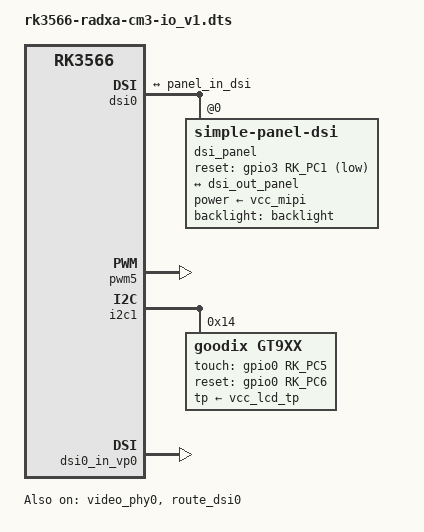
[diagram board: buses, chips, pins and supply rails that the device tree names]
vcc_mipi: vcc-mipi {            //MIPI供电控制MOS   
        status = "okay";
        compatible = "regulator-fixed";
        regulator-name = "vcc_mipi";
        regulator-min-microvolt = <3300000>;
        regulator-max-microvolt = <3300000>;
        pinctrl-names = "default";
        pinctrl-0 = <&vcc_mipi_pin>;
        gpio = <&gpio1 RK_PD5 GPIO_ACTIVE_HIGH>;
        enable-active-high;
        regulator-always-on;
        regulator-state-mem {
            regulator-off-in-suspend;
        };
    };
vcc_lcd_tp: vcc-lcd-tp {
        status = "okay";
        compatible = "regulator-fixed";
        regulator-name = "vcc_lcd_tp";
        regulator-min-microvolt = <3300000>;
        regulator-max-microvolt = <3300000>;
        pinctrl-names = "default";
        pinctrl-0 = <&vcc_tp_pin>;
        gpio = <&gpio3 RK_PD0 GPIO_ACTIVE_LOW>;
        regulator-always-on;
        regulator-state-mem {
            regulator-off-in-suspend;
        };
    };

&dsi0 {
    status = "okay";
    //rockchip,lane-rate = <480>;   屏蔽MIPI速率，驱动会自行计算
    #address-cells = <1>;
    #size-cells = <0>;

    dsi_panel: panel@0 {
        status = "okay";
        compatible = "simple-panel-dsi";
        reg = <0>;
        backlight = <&backlight>;
        power-supply = <&vcc_mipi>;
        reset-gpios = <&gpio3 RK_PC1 GPIO_ACTIVE_LOW>;
        pinctrl-names = "default";
        pinctrl-0 = <&dsi0_lcd_rst_gpio>;
        rotation = <90>;
        
        prepare-delay-ms = <20>;
        reset-delay-ms = <5>;
        init-delay-ms = <5>;
        enable-delay-ms = <120>;
        
        unprepare-delay-ms = <120>;
        disable-delay-ms = <50>;

        //  94.2mm       150.72mm
        width-mm = <94>;
        height-mm = <150>;
        dsi,flags = <(MIPI_DSI_MODE_VIDEO | MIPI_DSI_MODE_VIDEO_BURST | MIPI_DSI_MODE_LPM | MIPI_DSI_MODE_EOT_PACKET)>;
        dsi,format = <MIPI_DSI_FMT_RGB888>;
        dsi,lanes  = <4>;
        panel-init-sequence = [
            39 00 04 FF 98 81 03
            15 00 02 01 00
            15 00 02 02 00
            15 00 02 03 73
            15 00 02 04 13
            15 00 02 05 00
            15 00 02 06 0A
            15 00 02 07 05
            15 00 02 08 00
            15 00 02 09 28
            15 00 02 0A 00
            15 00 02 0B 00
            15 00 02 0C 00
            15 00 02 0D 28
            15 00 02 0E 00
            15 00 02 0F 28
            15 00 02 10 28
            15 00 02 11 00
            15 00 02 12 00
            15 00 02 13 00
            15 00 02 14 00
            15 00 02 15 00
            15 00 02 16 00
            15 00 02 17 00
            15 00 02 18 00
            15 00 02 19 00
            15 00 02 1A 00
            15 00 02 1B 00
            15 00 02 1C 00
            15 00 02 1D 00
            15 00 02 1E 40
            15 00 02 1F 80
            15 00 02 20 06
            15 00 02 21 01
            15 00 02 22 00
            15 00 02 23 00
            15 00 02 24 00
            15 00 02 25 00
            15 00 02 26 00
            15 00 02 27 00
            15 00 02 28 33
            15 00 02 29 33
            15 00 02 2A 00
            15 00 02 2B 00
            15 00 02 2C 04
            15 00 02 2D 04
            15 00 02 2E 05
            15 00 02 2F 05
            15 00 02 30 00
            15 00 02 31 00
            15 00 02 32 31
            15 00 02 33 00
            15 00 02 34 00
            15 00 02 35 0A
            15 00 02 36 00
            15 00 02 37 08
            15 00 02 38 00
            15 00 02 39 00
            15 00 02 3A 00
            15 00 02 3B 00
            15 00 02 3C 00
            15 00 02 3D 00
            15 00 02 3E 00
            15 00 02 3F 00
            15 00 02 40 00
            15 00 02 41 00
            15 00 02 42 00
            15 00 02 43 08
            15 00 02 44 00
            15 00 02 50 01
            15 00 02 51 23
            15 00 02 52 44
            15 00 02 53 67
            15 00 02 54 89
            15 00 02 55 AB
            15 00 02 56 01
            15 00 02 57 23
            15 00 02 58 45
            15 00 02 59 67
            15 00 02 5A 89
            15 00 02 5B AB
            15 00 02 5C CD
            15 00 02 5D EF
            15 00 02 5E 11
            15 00 02 5F 02
            15 00 02 60 08
            15 00 02 61 0E
            15 00 02 62 0F
            15 00 02 63 0C
            15 00 02 64 0D
            15 00 02 65 17
            15 00 02 66 01
            15 00 02 67 01
            15 00 02 68 02
            15 00 02 69 02
            15 00 02 6A 00
            15 00 02 6B 00
            15 00 02 6C 02
            15 00 02 6D 02
            15 00 02 6E 16
            15 00 02 6F 16
            15 00 02 70 06
            15 00 02 71 06
            15 00 02 72 07
            15 00 02 73 07
            15 00 02 74 02
            15 00 02 75 02
            15 00 02 76 08
            15 00 02 77 0E
            15 00 02 78 0F
            15 00 02 79 0C
            15 00 02 7A 0D
            15 00 02 7B 17
            15 00 02 7C 01
            15 00 02 7D 01
            15 00 02 7E 02
            15 00 02 7F 02
            15 00 02 80 00
            15 00 02 81 00
            15 00 02 82 02
            15 00 02 83 02
            15 00 02 84 16
            15 00 02 85 16
            15 00 02 86 06
            15 00 02 87 06
            15 00 02 88 07
            15 00 02 89 07
            15 00 02 8A 02
            39 00 04 FF 98 81 04
            15 00 02 6E 1A
            15 00 02 6F 37
            15 00 02 3A A4
            15 00 02 8D 1F
            15 00 02 87 BA
            15 00 02 B2 D1
            15 00 02 88 0B
            15 00 02 38 01
            15 00 02 39 00
            15 00 02 B5 02
            15 00 02 31 25
            15 00 02 3B 98
            39 00 04 FF 98 81 01
            15 00 02 22 0A
            15 00 02 31 00
            15 00 02 53 53
            15 00 02 55 3D
            15 00 02 50 9E
            15 00 02 51 99
            15 00 02 60 06
            15 00 02 62 20
            15 00 02 A0 00
            15 00 02 A1 17
            15 00 02 A2 26
            15 00 02 A3 13
            15 00 02 A4 16
            15 00 02 A5 29
            15 00 02 A6 1E
            15 00 02 A7 1F
            15 00 02 A8 8B
            15 00 02 A9 1D
            15 00 02 AA 2A
            15 00 02 AB 7B
            15 00 02 AC 1A
            15 00 02 AD 19
            15 00 02 AE 4E
            15 00 02 AF 24
            15 00 02 B0 29
            15 00 02 B1 4F
            15 00 02 B2 5C
            15 00 02 B3 3E
            15 00 02 C0 00
            15 00 02 C1 17
            15 00 02 C2 26
            15 00 02 C3 13
            15 00 02 C4 16
            15 00 02 C5 29
            15 00 02 C6 1E
            15 00 02 C7 1F
            15 00 02 C8 8B
            15 00 02 C9 1D
            15 00 02 CA 2A
            15 00 02 CB 7B
            15 00 02 CC 1A
            15 00 02 CD 19
            15 00 02 CE 4E
            15 00 02 CF 24
            15 00 02 D0 29
            15 00 02 D1 4F
            15 00 02 D2 5C
            15 00 02 D3 3E
            39 00 04 FF 98 81 00
            15 78 02 11 00
            15 00 02 29 00
            15 00 02 35 00
        ];

        panel-exit-sequence = [
            05 00 01 28
            05 00 01 10
        ];

        disp_timings0: display-timings {
            native-mode = <&dsi0_timing0>;
            dsi0_timing0: timing0 {
                clock-frequency = <67300000>;       //PCLK=(VS+VFP+VBP+Vactive)(HS+HFP+HBP+Hactive)*fps 67329360
                hactive = <800>;
                vactive = <1280>;
                hsync-len = <18>;
                hback-porch = <18>;
                hfront-porch = <18>;
                vsync-len = <4>;
                vback-porch = <10>;
                vfront-porch = <20>;
                hsync-active = <0>;
                vsync-active = <0>;
                de-active = <0>;
                pixelclk-active = <1>;          //像素时钟极性控制
            };
        };

        ports {
            #address-cells = <1>;
            #size-cells = <0>;
            port@0 {
                reg = <0>;
                panel_in_dsi: endpoint {
                    remote-endpoint = <&dsi_out_panel>;
                };
            };
        };
    };

    ports {
        #address-cells = <1>;
        #size-cells = <0>;

        port@1 {
            reg = <1>;
            dsi_out_panel: endpoint {
                remote-endpoint = <&panel_in_dsi>;
            };
        };
    };
};

&pwm5 {
    status = "okay";                
};
backlight: backlight {
        status = "okay";
        compatible = "pwm-backlight";
        pinctrl-names = "default";
        pinctrl-0 = <&dsi0_backlight_en>;
        pwms = <&pwm5 0 50000 PWM_POLARITY_INVERTED>;       //GPIO0_C4  PWM5
        enable-gpios = <&gpio4 RK_PB3 0>;           //背光MOS控制
        post-pwm-on-delay-ms = <10>;            //开启控制延时
        pwm-off-delay-ms = <10>;                //关闭控制延时
        brightness-levels = <
                0  20  20  21  21  22  22  23
                23  24  24  25  25  26  26  27
                27  28  28  29  29  30  30  31
                31  32  32  33  33  34  34  35
                35  36  36  37  37  38  38  39
                40  41  42  43  44  45  46  47
                48  49  50  51  52  53  54  55
                56  57  58  59  60  61  62  63
                64  65  66  67  68  69  70  71
                72  73  74  75  76  77  78  79
                80  81  82  83  84  85  86  87
                88  89  90  91  92  93  94  95
                96  97  98  99 100 101 102 103
            104 105 106 107 108 109 110 111
            112 113 114 115 116 117 118 119
            120 121 122 123 124 125 126 127
            128 129 130 131 132 133 134 135
            136 137 138 139 140 141 142 143
            144 145 146 147 148 149 150 151
            152 153 154 155 156 157 158 159
            160 161 162 163 164 165 166 167
            168 169 170 171 172 173 174 175
            176 177 178 179 180 181 182 183
            184 185 186 187 188 189 190 191
            192 193 194 195 196 197 198 199
            200 201 202 203 204 205 206 207
            208 209 210 211 212 213 214 215
            216 217 218 219 220 221 222 223
            224 225 226 227 228 229 230 231
            232 233 234 235 236 237 238 239
            240 241 242 243 244 245 246 247
            248 249 250 251 252 253 254 255
        >;
        default-brightness-level = <200>;       //默认亮度200，越小越亮
    };

&i2c1 {
    status = "okay";
    pinctrl-0 = <&i2c1_xfer>;           //I2C1
    #address-cells = <1>;
    #size-cells = <0>;

    gt9xx: gt9xx@14 {
        status = "okay";
        compatible = "goodix,gt9xx";
        reg = <0x14>;
        pinctrl-names = "default";
        pinctrl-0 = <&gt9xx_gpio>;
        touch-gpio = <&gpio0 RK_PC5 IRQ_TYPE_LEVEL_HIGH>;
        reset-gpio = <&gpio0 RK_PC6 GPIO_ACTIVE_HIGH>;
        max-x = <1280>;
        max-y = <800>;
        tp-size = <9112>;
        tp-supply = <&vcc_lcd_tp>;
    };
};

&pinctrl {
    gt9xx {
        gt9xx_gpio: gt9xx-gpio {
            rockchip,pins =
                <0 RK_PC5 RK_FUNC_GPIO &pcfg_pull_none>,        //中断
                <0 RK_PC6 RK_FUNC_GPIO &pcfg_pull_up>;          //复位
        };
    };

    vcc_tp_pin: vcc-tp-pin {
        rockchip,pins = <3 RK_PD0 RK_FUNC_GPIO &pcfg_pull_down>;
    };

    vcc_mipi_pin: vcc-mipi-pin {
        rockchip,pins = <1 RK_PD5 RK_FUNC_GPIO &pcfg_pull_up>;
    };

    dsi0_lcd_rst_gpio: dsi0-lcd-rst-gpio {
        rockchip,pins = <3 RK_PC1 RK_FUNC_GPIO &pcfg_pull_none>;
    };

    dsi0_backlight_en: dsi0-backlight-en {
        rockchip,pins = <4 RK_PB3 RK_FUNC_GPIO &pcfg_pull_up>;
    };
};

&dsi0_in_vp0 {
    status = "okay";
};
&dsi0_in_vp1 {
    status = "disabled";
};
&video_phy0 {
    status = "okay";
};
&video_phy1 {
    status = "disabled";
};
&hdmi_in_vp0 {
    status = "disabled";
};
&hdmi {
    status = "disabled";
};
&route_dsi0 {
    status = "okay";
    connect = <&vp0_out_dsi0>;
};
